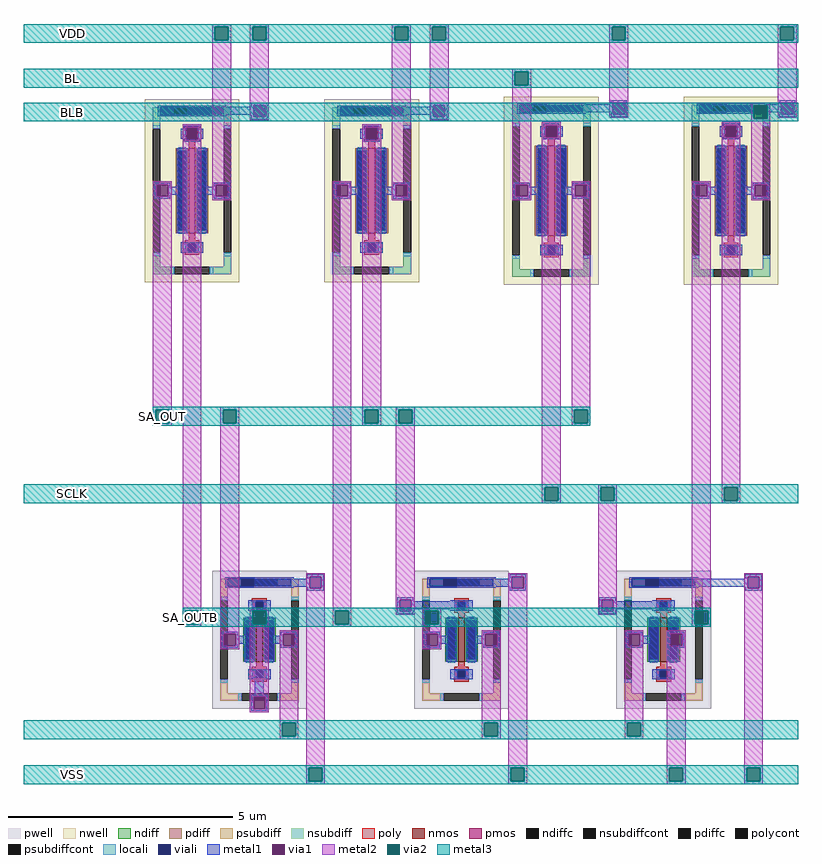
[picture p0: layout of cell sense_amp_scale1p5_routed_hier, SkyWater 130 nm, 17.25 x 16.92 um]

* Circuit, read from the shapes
.subckt sense_amp_scale1p5_routed_hier VDD VSS BL BLB SCLK SA_OUT SA_OUTB
XM1 n1 SA_OUTB SA_OUT VSS sky130_fd_pr__nfet_01v8 w=0.98 l=0.15
XM2 n1 SA_OUT SA_OUTB VSS sky130_fd_pr__nfet_01v8 w=0.98 l=0.15
XM3 VSS SCLK n1 VSS sky130_fd_pr__nfet_01v8 w=0.98 l=0.15
XM4 VDD SA_OUTB SA_OUT VDD sky130_fd_pr__pfet_01v8 w=1.89 l=0.15
XM5 VDD SA_OUT SA_OUTB VDD sky130_fd_pr__pfet_01v8 w=1.89 l=0.15
XM6 SA_OUT SCLK BL VDD sky130_fd_pr__pfet_01v8 w=2 l=0.15
XM7 BLB SCLK SA_OUTB VDD sky130_fd_pr__pfet_01v8 w=2 l=0.15
.ends

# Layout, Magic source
magic
tech sky130A
magscale 1 2
<< metal1 >>
rect 2164 -608 2236 -598
rect 564 -619 636 -609
rect 564 -627 574 -619
rect 280 -663 574 -627
rect 564 -671 574 -663
rect 626 -671 636 -619
rect 1364 -619 1436 -609
rect 2164 -616 2174 -608
rect 1364 -627 1374 -619
rect 1080 -663 1374 -627
rect 564 -681 636 -671
rect 1364 -671 1374 -663
rect 1426 -671 1436 -619
rect 1880 -652 2174 -616
rect 2164 -660 2174 -652
rect 2226 -660 2236 -608
rect 2914 -608 2986 -598
rect 2914 -616 2924 -608
rect 2680 -652 2924 -616
rect 2164 -670 2236 -660
rect 2914 -660 2924 -652
rect 2976 -660 2986 -608
rect 2914 -670 2986 -660
rect 1364 -681 1436 -671
rect 1864 -710 1936 -700
rect 264 -721 336 -711
rect 264 -773 274 -721
rect 326 -773 336 -721
rect 264 -783 336 -773
rect 1064 -721 1136 -711
rect 1064 -773 1074 -721
rect 1126 -773 1136 -721
rect 1864 -762 1874 -710
rect 1926 -762 1936 -710
rect 1864 -772 1936 -762
rect 2664 -710 2736 -700
rect 2664 -762 2674 -710
rect 2726 -762 2736 -710
rect 2664 -772 2736 -762
rect 1064 -783 1136 -773
rect 132 -974 204 -964
rect 132 -1026 142 -974
rect 194 -982 204 -974
rect 233 -982 279 -811
rect 194 -1018 279 -982
rect 194 -1026 204 -1018
rect 132 -1036 204 -1026
rect 233 -1189 279 -1018
rect 321 -982 367 -811
rect 396 -974 468 -964
rect 396 -982 406 -974
rect 321 -1018 406 -982
rect 321 -1189 367 -1018
rect 396 -1026 406 -1018
rect 458 -1026 468 -974
rect 396 -1036 468 -1026
rect 932 -974 1004 -964
rect 932 -1026 942 -974
rect 994 -982 1004 -974
rect 1033 -982 1079 -811
rect 994 -1018 1079 -982
rect 994 -1026 1004 -1018
rect 932 -1036 1004 -1026
rect 1033 -1189 1079 -1018
rect 1121 -982 1167 -811
rect 1196 -974 1268 -964
rect 1196 -982 1206 -974
rect 1121 -1018 1206 -982
rect 1121 -1189 1167 -1018
rect 1196 -1026 1206 -1018
rect 1258 -1026 1268 -974
rect 1196 -1036 1268 -1026
rect 1732 -974 1804 -964
rect 1732 -1026 1742 -974
rect 1794 -982 1804 -974
rect 1833 -982 1879 -800
rect 1794 -1018 1879 -982
rect 1794 -1026 1804 -1018
rect 1732 -1036 1804 -1026
rect 1833 -1200 1879 -1018
rect 1921 -982 1967 -800
rect 1996 -974 2068 -964
rect 1996 -982 2006 -974
rect 1921 -1018 2006 -982
rect 1921 -1200 1967 -1018
rect 1996 -1026 2006 -1018
rect 2058 -1026 2068 -974
rect 1996 -1036 2068 -1026
rect 2532 -974 2604 -964
rect 2532 -1026 2542 -974
rect 2594 -982 2604 -974
rect 2633 -982 2679 -800
rect 2594 -1018 2679 -982
rect 2594 -1026 2604 -1018
rect 2532 -1036 2604 -1026
rect 2633 -1200 2679 -1018
rect 2721 -982 2767 -800
rect 2796 -974 2868 -964
rect 2796 -982 2806 -974
rect 2721 -1018 2806 -982
rect 2721 -1200 2767 -1018
rect 2796 -1026 2806 -1018
rect 2858 -1026 2868 -974
rect 2796 -1036 2868 -1026
rect 814 -2719 886 -2709
rect 814 -2727 824 -2719
rect 580 -2763 824 -2727
rect 814 -2771 824 -2763
rect 876 -2771 886 -2719
rect 1714 -2719 1786 -2709
rect 1714 -2727 1724 -2719
rect 1480 -2763 1724 -2727
rect 814 -2781 886 -2771
rect 1714 -2771 1724 -2763
rect 1776 -2771 1786 -2719
rect 2764 -2719 2836 -2709
rect 2764 -2727 2774 -2719
rect 2380 -2763 2774 -2727
rect 1714 -2781 1786 -2771
rect 2764 -2771 2774 -2763
rect 2826 -2771 2836 -2719
rect 2764 -2781 2836 -2771
rect 1214 -2821 1286 -2811
rect 1214 -2873 1224 -2821
rect 1276 -2829 1286 -2821
rect 2114 -2821 2186 -2811
rect 1276 -2865 1520 -2829
rect 1276 -2873 1286 -2865
rect 1214 -2883 1286 -2873
rect 2114 -2873 2124 -2821
rect 2176 -2829 2186 -2821
rect 2176 -2865 2420 -2829
rect 2176 -2873 2186 -2865
rect 2114 -2883 2186 -2873
rect 432 -2974 504 -2964
rect 432 -3026 442 -2974
rect 494 -2982 504 -2974
rect 533 -2982 579 -2902
rect 494 -3018 579 -2982
rect 494 -3026 504 -3018
rect 432 -3036 504 -3026
rect 533 -3098 579 -3018
rect 621 -2982 667 -2902
rect 696 -2974 768 -2964
rect 696 -2982 706 -2974
rect 621 -3018 706 -2982
rect 621 -3098 667 -3018
rect 696 -3026 706 -3018
rect 758 -3026 768 -2974
rect 696 -3036 768 -3026
rect 1332 -2974 1404 -2964
rect 1332 -3026 1342 -2974
rect 1394 -2982 1404 -2974
rect 1433 -2982 1479 -2902
rect 1394 -3018 1479 -2982
rect 1394 -3026 1404 -3018
rect 1332 -3036 1404 -3026
rect 1433 -3098 1479 -3018
rect 1521 -2982 1567 -2902
rect 1596 -2974 1668 -2964
rect 1596 -2982 1606 -2974
rect 1521 -3018 1606 -2982
rect 1521 -3098 1567 -3018
rect 1596 -3026 1606 -3018
rect 1658 -3026 1668 -2974
rect 1596 -3036 1668 -3026
rect 2232 -2974 2304 -2964
rect 2232 -3026 2242 -2974
rect 2294 -2982 2304 -2974
rect 2333 -2982 2379 -2902
rect 2421 -2964 2467 -2902
rect 2294 -3018 2379 -2982
rect 2294 -3026 2304 -3018
rect 2232 -3036 2304 -3026
rect 2333 -3098 2379 -3018
rect 2420 -2974 2492 -2964
rect 2420 -3026 2430 -2974
rect 2482 -3026 2492 -2974
rect 2420 -3036 2492 -3026
rect 2421 -3098 2467 -3036
rect 580 -3244 620 -3135
rect 564 -3254 636 -3244
rect 564 -3306 574 -3254
rect 626 -3306 636 -3254
rect 564 -3316 636 -3306
<< via1 >>
rect 574 -671 626 -619
rect 1374 -671 1426 -619
rect 2174 -660 2226 -608
rect 2924 -660 2976 -608
rect 274 -773 326 -721
rect 1074 -773 1126 -721
rect 1874 -762 1926 -710
rect 2674 -762 2726 -710
rect 142 -1026 194 -974
rect 406 -1026 458 -974
rect 942 -1026 994 -974
rect 1206 -1026 1258 -974
rect 1742 -1026 1794 -974
rect 2006 -1026 2058 -974
rect 2542 -1026 2594 -974
rect 2806 -1026 2858 -974
rect 824 -2771 876 -2719
rect 1724 -2771 1776 -2719
rect 2774 -2771 2826 -2719
rect 1224 -2873 1276 -2821
rect 2124 -2873 2176 -2821
rect 442 -3026 494 -2974
rect 706 -3026 758 -2974
rect 1342 -3026 1394 -2974
rect 1606 -3026 1658 -2974
rect 2242 -3026 2294 -2974
rect 2430 -3026 2482 -2974
rect 574 -3306 626 -3254
<< metal2 >>
rect 390 -270 474 -258
rect 390 -330 402 -270
rect 462 -330 474 -270
rect 258 -721 342 -705
rect 258 -773 274 -721
rect 326 -773 342 -721
rect 126 -974 210 -958
rect 126 -1026 142 -974
rect 194 -1026 210 -974
rect 126 -1975 210 -1026
rect 126 -2035 138 -1975
rect 198 -2035 210 -1975
rect 126 -2047 210 -2035
rect 258 -2870 342 -773
rect 390 -974 474 -330
rect 558 -270 642 -258
rect 558 -330 570 -270
rect 630 -330 642 -270
rect 558 -619 642 -330
rect 558 -671 574 -619
rect 626 -671 642 -619
rect 558 -687 642 -671
rect 1190 -270 1274 -258
rect 1190 -330 1202 -270
rect 1262 -330 1274 -270
rect 1058 -721 1142 -705
rect 1058 -773 1074 -721
rect 1126 -773 1142 -721
rect 390 -1026 406 -974
rect 458 -1026 474 -974
rect 390 -1042 474 -1026
rect 926 -974 1010 -958
rect 926 -1026 942 -974
rect 994 -1026 1010 -974
rect 258 -2930 270 -2870
rect 330 -2930 342 -2870
rect 258 -2942 342 -2930
rect 426 -1975 510 -1963
rect 426 -2035 438 -1975
rect 498 -2035 510 -1975
rect 426 -2974 510 -2035
rect 808 -2719 892 -2703
rect 808 -2771 824 -2719
rect 876 -2771 892 -2719
rect 426 -3026 442 -2974
rect 494 -3026 510 -2974
rect 426 -3042 510 -3026
rect 558 -2870 642 -2858
rect 558 -2930 570 -2870
rect 630 -2930 642 -2870
rect 558 -3254 642 -2930
rect 558 -3306 574 -3254
rect 626 -3306 642 -3254
rect 558 -3322 642 -3306
rect 690 -2974 774 -2958
rect 690 -3026 706 -2974
rect 758 -3026 774 -2974
rect 690 -3370 774 -3026
rect 690 -3430 702 -3370
rect 762 -3430 774 -3370
rect 690 -3442 774 -3430
rect 808 -3570 892 -2771
rect 926 -2870 1010 -1026
rect 1058 -1975 1142 -773
rect 1190 -974 1274 -330
rect 1358 -270 1442 -258
rect 1358 -330 1370 -270
rect 1430 -330 1442 -270
rect 1358 -619 1442 -330
rect 2158 -270 2242 -258
rect 2158 -330 2170 -270
rect 2230 -330 2242 -270
rect 1358 -671 1374 -619
rect 1426 -671 1442 -619
rect 1358 -687 1442 -671
rect 1726 -470 1810 -458
rect 1726 -530 1738 -470
rect 1798 -530 1810 -470
rect 1190 -1026 1206 -974
rect 1258 -1026 1274 -974
rect 1190 -1042 1274 -1026
rect 1726 -974 1810 -530
rect 2158 -608 2242 -330
rect 2908 -270 2992 -258
rect 2908 -330 2920 -270
rect 2980 -330 2992 -270
rect 2908 -608 2992 -330
rect 2158 -660 2174 -608
rect 2226 -660 2242 -608
rect 2158 -676 2242 -660
rect 2790 -620 2874 -608
rect 2790 -680 2802 -620
rect 2862 -680 2874 -620
rect 2908 -660 2924 -608
rect 2976 -660 2992 -608
rect 2908 -676 2992 -660
rect 1726 -1026 1742 -974
rect 1794 -1026 1810 -974
rect 1726 -1042 1810 -1026
rect 1858 -710 1942 -694
rect 1858 -762 1874 -710
rect 1926 -762 1942 -710
rect 1058 -2035 1070 -1975
rect 1130 -2035 1142 -1975
rect 1058 -2047 1142 -2035
rect 1208 -1975 1292 -1963
rect 1208 -2035 1220 -1975
rect 1280 -2035 1292 -1975
rect 926 -2930 938 -2870
rect 998 -2930 1010 -2870
rect 1208 -2821 1292 -2035
rect 1858 -2320 1942 -762
rect 2658 -710 2742 -694
rect 2658 -762 2674 -710
rect 2726 -762 2742 -710
rect 1990 -974 2074 -958
rect 1990 -1026 2006 -974
rect 2058 -1026 2074 -974
rect 1990 -1975 2074 -1026
rect 1990 -2035 2002 -1975
rect 2062 -2035 2074 -1975
rect 1990 -2047 2074 -2035
rect 2526 -974 2610 -958
rect 2526 -1026 2542 -974
rect 2594 -1026 2610 -974
rect 1858 -2380 1870 -2320
rect 1930 -2380 1942 -2320
rect 1858 -2392 1942 -2380
rect 2108 -2320 2192 -2308
rect 2108 -2380 2120 -2320
rect 2180 -2380 2192 -2320
rect 1208 -2873 1224 -2821
rect 1276 -2873 1292 -2821
rect 1708 -2719 1792 -2703
rect 1708 -2771 1724 -2719
rect 1776 -2771 1792 -2719
rect 1208 -2889 1292 -2873
rect 1326 -2870 1410 -2858
rect 926 -2942 1010 -2930
rect 1326 -2930 1338 -2870
rect 1398 -2930 1410 -2870
rect 1326 -2974 1410 -2930
rect 1326 -3026 1342 -2974
rect 1394 -3026 1410 -2974
rect 1326 -3042 1410 -3026
rect 1590 -2974 1674 -2958
rect 1590 -3026 1606 -2974
rect 1658 -3026 1674 -2974
rect 1590 -3370 1674 -3026
rect 1590 -3430 1602 -3370
rect 1662 -3430 1674 -3370
rect 1590 -3442 1674 -3430
rect 808 -3630 820 -3570
rect 880 -3630 892 -3570
rect 808 -3642 892 -3630
rect 1708 -3570 1792 -2771
rect 2108 -2821 2192 -2380
rect 2108 -2873 2124 -2821
rect 2176 -2873 2192 -2821
rect 2108 -2889 2192 -2873
rect 2526 -2870 2610 -1026
rect 2658 -2320 2742 -762
rect 2790 -974 2874 -680
rect 2790 -1026 2806 -974
rect 2858 -1026 2874 -974
rect 2790 -1042 2874 -1026
rect 2658 -2380 2670 -2320
rect 2730 -2380 2742 -2320
rect 2658 -2392 2742 -2380
rect 2526 -2930 2538 -2870
rect 2598 -2930 2610 -2870
rect 2526 -2942 2610 -2930
rect 2758 -2719 2842 -2703
rect 2758 -2771 2774 -2719
rect 2826 -2771 2842 -2719
rect 2226 -2974 2310 -2958
rect 2226 -3026 2242 -2974
rect 2294 -3026 2310 -2974
rect 2226 -3370 2310 -3026
rect 2226 -3430 2238 -3370
rect 2298 -3430 2310 -3370
rect 2226 -3442 2310 -3430
rect 2414 -2974 2498 -2958
rect 2414 -3026 2430 -2974
rect 2482 -3026 2498 -2974
rect 1708 -3630 1720 -3570
rect 1780 -3630 1792 -3570
rect 1708 -3642 1792 -3630
rect 2414 -3570 2498 -3026
rect 2414 -3630 2426 -3570
rect 2486 -3630 2498 -3570
rect 2414 -3642 2498 -3630
rect 2758 -3570 2842 -2771
rect 2758 -3630 2770 -3570
rect 2830 -3630 2842 -3570
rect 2758 -3642 2842 -3630
<< via2 >>
rect 402 -330 462 -270
rect 138 -2035 198 -1975
rect 570 -330 630 -270
rect 1202 -330 1262 -270
rect 270 -2930 330 -2870
rect 438 -2035 498 -1975
rect 570 -2930 630 -2870
rect 702 -3430 762 -3370
rect 1370 -330 1430 -270
rect 2170 -330 2230 -270
rect 1738 -530 1798 -470
rect 2920 -330 2980 -270
rect 2802 -680 2862 -620
rect 1070 -2035 1130 -1975
rect 1220 -2035 1280 -1975
rect 938 -2930 998 -2870
rect 2002 -2035 2062 -1975
rect 1870 -2380 1930 -2320
rect 2120 -2380 2180 -2320
rect 1338 -2930 1398 -2870
rect 1602 -3430 1662 -3370
rect 820 -3630 880 -3570
rect 2670 -2380 2730 -2320
rect 2538 -2930 2598 -2870
rect 2238 -3430 2298 -3370
rect 1720 -3630 1780 -3570
rect 2426 -3630 2486 -3570
rect 2770 -3630 2830 -3570
<< metal3 >>
rect -450 -270 3000 -258
rect -450 -330 402 -270
rect 462 -330 570 -270
rect 630 -330 1202 -270
rect 1262 -330 1370 -270
rect 1430 -330 2170 -270
rect 2230 -330 2920 -270
rect 2980 -330 3000 -270
rect -450 -342 3000 -330
rect -450 -470 3000 -458
rect -450 -530 1738 -470
rect 1798 -530 3000 -470
rect -450 -542 3000 -530
rect -450 -620 3000 -608
rect -450 -680 2802 -620
rect 2862 -680 3000 -620
rect -450 -692 3000 -680
rect 126 -1975 2074 -1963
rect 126 -2035 138 -1975
rect 198 -2035 438 -1975
rect 498 -2035 1070 -1975
rect 1130 -2035 1220 -1975
rect 1280 -2035 2002 -1975
rect 2062 -2035 2074 -1975
rect 126 -2047 2074 -2035
rect -450 -2320 3000 -2308
rect -450 -2380 1870 -2320
rect 1930 -2380 2120 -2320
rect 2180 -2380 2670 -2320
rect 2730 -2380 3000 -2320
rect -450 -2392 3000 -2380
rect 258 -2870 2610 -2858
rect 258 -2930 270 -2870
rect 330 -2930 570 -2870
rect 630 -2930 938 -2870
rect 998 -2930 1338 -2870
rect 1398 -2930 2538 -2870
rect 2598 -2930 2610 -2870
rect 258 -2942 2610 -2930
rect -450 -3370 3000 -3358
rect -450 -3430 702 -3370
rect 762 -3430 1602 -3370
rect 1662 -3430 2238 -3370
rect 2298 -3430 3000 -3370
rect -450 -3442 3000 -3430
rect -450 -3570 3000 -3558
rect -450 -3630 820 -3570
rect 880 -3630 1720 -3570
rect 1780 -3630 2426 -3570
rect 2486 -3630 2770 -3570
rect 2830 -3630 3000 -3570
rect -450 -3642 3000 -3630
use sky130_fd_pr__nfet_01v8_MCBHB7  XMN1
transform 1 0 600 0 1 -3000
box -211 -308 211 308
use sky130_fd_pr__nfet_01v8_MCBHB7  XMN2
transform 1 0 1500 0 1 -3000
box -211 -308 211 308
use sky130_fd_pr__pfet_01v8_FT7YZL  XMP1
transform 1 0 300 0 1 -1000
box -211 -408 211 408
use sky130_fd_pr__pfet_01v8_FT7YZL  XMP2
transform 1 0 1100 0 1 -1000
box -211 -408 211 408
use sky130_fd_pr__pfet_01v8_G3SWYS  XMSAMPBL
transform 1 0 1900 0 1 -1000
box -211 -419 211 419
use sky130_fd_pr__pfet_01v8_G3SWYS  XMSAMPBLB
transform 1 0 2700 0 1 -1000
box -211 -419 211 419
use sky130_fd_pr__nfet_01v8_MCBHB7  XMTAIL
transform 1 0 2400 0 1 -3000
box -211 -308 211 308
<< labels >>
rlabel metal3 -255 -325 -205 -275 0 VDD
port 0 n
rlabel metal3 -255 -3625 -205 -3575 0 VSS
port 1 n
rlabel metal3 -255 -525 -205 -475 0 BL
port 2 n
rlabel metal3 -255 -675 -205 -625 0 BLB
port 3 n
rlabel metal3 -255 -2375 -205 -2325 0 SCLK
port 4 n
rlabel metal3 145 -2030 195 -1980 0 SA_OUT
port 5 n
rlabel metal3 270 -2925 320 -2875 0 SA_OUTB
port 6 n
<< end >>

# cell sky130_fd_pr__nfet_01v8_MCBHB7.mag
magic
tech sky130A
magscale 1 2
<< pwell >>
rect -211 -308 211 308
<< nmos >>
rect -15 -98 15 98
<< ndiff >>
rect -73 86 -15 98
rect -73 -86 -61 86
rect -27 -86 -15 86
rect -73 -98 -15 -86
rect 15 86 73 98
rect 15 -86 27 86
rect 61 -86 73 86
rect 15 -98 73 -86
<< ndiffc >>
rect -61 -86 -27 86
rect 27 -86 61 86
<< psubdiff >>
rect -175 238 -79 272
rect 79 238 175 272
rect -175 176 -141 238
rect 141 176 175 238
rect -175 -238 -141 -176
rect 141 -238 175 -176
rect -175 -272 -79 -238
rect 79 -272 175 -238
<< psubdiffcont >>
rect -79 238 79 272
rect -175 -176 -141 176
rect 141 -176 175 176
rect -79 -272 79 -238
<< poly >>
rect -33 170 33 186
rect -33 136 -17 170
rect 17 136 33 170
rect -33 120 33 136
rect -15 98 15 120
rect -15 -120 15 -98
rect -33 -136 33 -120
rect -33 -170 -17 -136
rect 17 -170 33 -136
rect -33 -186 33 -170
<< polycont >>
rect -17 136 17 170
rect -17 -170 17 -136
<< locali >>
rect -175 176 -141 192
rect 141 176 175 192
rect -33 136 -17 170
rect 17 136 33 170
rect -61 86 -27 102
rect -61 -102 -27 -86
rect 27 86 61 102
rect 27 -102 61 -86
rect -33 -170 -17 -136
rect 17 -170 33 -136
rect -175 -192 -141 -176
rect 141 -192 175 -176
rect -95 -272 -79 -238
rect 79 -272 95 -238
<< viali >>
rect -141 238 -79 272
rect -79 238 79 272
rect 79 238 141 272
rect -17 136 17 170
rect -61 -86 -27 86
rect 27 -86 61 86
rect -17 -170 17 -136
<< metal1 >>
rect -153 272 153 278
rect -153 238 -141 272
rect 141 238 153 272
rect -153 232 153 238
rect -50 170 50 176
rect -50 136 -17 170
rect 17 136 50 170
rect -50 130 50 136
rect -67 86 -21 98
rect -67 -86 -61 86
rect -27 -86 -21 86
rect -67 -98 -21 -86
rect 21 86 67 98
rect 21 -86 27 86
rect 61 -86 67 86
rect 21 -98 67 -86
rect -50 -136 50 -130
rect -50 -170 -17 -136
rect 17 -170 50 -136
rect -50 -176 50 -170
<< properties >>
string FIXED_BBOX -158 -255 158 255
string library sky130
string parameters w 0.975 l 0.15 m 1 nf 1 diffcov 100 polycov 100 guard 1 glc 1 grc 1 gtc 1 gbc 1 tbcov 100 rlcov 100 topc 1 botc 1 poverlap 0 doverlap 1 lmin 0.15 wmin 0.42 class mosfet compatible {sky130_fd_pr__nfet_01v8 sky130_fd_pr__nfet_01v8_lvt  sky130_fd_bs_flash__special_sonosfet_star  sky130_fd_pr__nfet_g5v0d10v5 sky130_fd_pr__nfet_05v0_nvt  sky130_fd_pr__nfet_03v3_nvt} full_metal 0 viasrc 100 viadrn 100 viagate 100 viagb 0 viagr 0 viagl 0 viagt 100
<< end >>

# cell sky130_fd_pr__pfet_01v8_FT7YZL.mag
magic
tech sky130A
magscale 1 2
<< nwell >>
rect -211 -408 211 408
<< pmos >>
rect -15 -189 15 189
<< pdiff >>
rect -73 177 -15 189
rect -73 -177 -61 177
rect -27 -177 -15 177
rect -73 -189 -15 -177
rect 15 177 73 189
rect 15 -177 27 177
rect 61 -177 73 177
rect 15 -189 73 -177
<< pdiffc >>
rect -61 -177 -27 177
rect 27 -177 61 177
<< nsubdiff >>
rect -175 338 -79 372
rect 79 338 175 372
rect -175 276 -141 338
rect 141 276 175 338
rect -175 -338 -141 -276
rect 141 -338 175 -276
rect -175 -372 -79 -338
rect 79 -372 175 -338
<< nsubdiffcont >>
rect -79 338 79 372
rect -175 -276 -141 276
rect 141 -276 175 276
rect -79 -372 79 -338
<< poly >>
rect -33 270 33 286
rect -33 236 -17 270
rect 17 236 33 270
rect -33 220 33 236
rect -15 189 15 220
rect -15 -220 15 -189
rect -33 -236 33 -220
rect -33 -270 -17 -236
rect 17 -270 33 -236
rect -33 -286 33 -270
<< polycont >>
rect -17 236 17 270
rect -17 -270 17 -236
<< locali >>
rect -175 276 -141 292
rect 141 276 175 292
rect -33 236 -17 270
rect 17 236 33 270
rect -61 177 -27 193
rect -61 -193 -27 -177
rect 27 177 61 193
rect 27 -193 61 -177
rect -33 -270 -17 -236
rect 17 -270 33 -236
rect -175 -292 -141 -276
rect 141 -292 175 -276
rect -95 -372 -79 -338
rect 79 -372 95 -338
<< viali >>
rect -141 338 -79 372
rect -79 338 79 372
rect 79 338 141 372
rect -17 236 17 270
rect -61 -177 -27 177
rect 27 -177 61 177
rect -17 -270 17 -236
<< metal1 >>
rect -153 372 153 378
rect -153 338 -141 372
rect 141 338 153 372
rect -153 332 153 338
rect -50 270 50 276
rect -50 236 -17 270
rect 17 236 50 270
rect -50 230 50 236
rect -67 177 -21 189
rect -67 -177 -61 177
rect -27 -177 -21 177
rect -67 -189 -21 -177
rect 21 177 67 189
rect 21 -177 27 177
rect 61 -177 67 177
rect 21 -189 67 -177
rect -50 -236 50 -230
rect -50 -270 -17 -236
rect 17 -270 50 -236
rect -50 -276 50 -270
<< properties >>
string FIXED_BBOX -158 -355 158 355
string library sky130
string parameters w 1.89 l 0.15 m 1 nf 1 diffcov 100 polycov 100 guard 1 glc 1 grc 1 gtc 1 gbc 1 tbcov 100 rlcov 100 topc 1 botc 1 poverlap 0 doverlap 1 lmin 0.15 wmin 0.42 class mosfet compatible {sky130_fd_pr__pfet_01v8  sky130_fd_pr__pfet_01v8_lvt sky130_fd_pr__pfet_01v8_hvt  sky130_fd_pr__pfet_g5v0d10v5} full_metal 0 viasrc 100 viadrn 100 viagate 100 viagb 0 viagr 0 viagl 0 viagt 100
<< end >>

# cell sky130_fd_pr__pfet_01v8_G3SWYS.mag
magic
tech sky130A
magscale 1 2
<< nwell >>
rect -211 -419 211 419
<< pmos >>
rect -15 -200 15 200
<< pdiff >>
rect -73 188 -15 200
rect -73 -188 -61 188
rect -27 -188 -15 188
rect -73 -200 -15 -188
rect 15 188 73 200
rect 15 -188 27 188
rect 61 -188 73 188
rect 15 -200 73 -188
<< pdiffc >>
rect -61 -188 -27 188
rect 27 -188 61 188
<< nsubdiff >>
rect -175 349 -79 383
rect 79 349 175 383
rect -175 287 -141 349
rect 141 287 175 349
rect -175 -349 -141 -287
rect 141 -349 175 -287
rect -175 -383 -79 -349
rect 79 -383 175 -349
<< nsubdiffcont >>
rect -79 349 79 383
rect -175 -287 -141 287
rect 141 -287 175 287
rect -79 -383 79 -349
<< poly >>
rect -33 281 33 297
rect -33 247 -17 281
rect 17 247 33 281
rect -33 231 33 247
rect -15 200 15 231
rect -15 -231 15 -200
rect -33 -247 33 -231
rect -33 -281 -17 -247
rect 17 -281 33 -247
rect -33 -297 33 -281
<< polycont >>
rect -17 247 17 281
rect -17 -281 17 -247
<< locali >>
rect -175 287 -141 303
rect 141 287 175 303
rect -33 247 -17 281
rect 17 247 33 281
rect -61 188 -27 204
rect -61 -204 -27 -188
rect 27 188 61 204
rect 27 -204 61 -188
rect -33 -281 -17 -247
rect 17 -281 33 -247
rect -175 -303 -141 -287
rect 141 -303 175 -287
rect -95 -383 -79 -349
rect 79 -383 95 -349
<< viali >>
rect -141 349 -79 383
rect -79 349 79 383
rect 79 349 141 383
rect -17 247 17 281
rect -61 -188 -27 188
rect 27 -188 61 188
rect -17 -281 17 -247
<< metal1 >>
rect -153 383 153 389
rect -153 349 -141 383
rect 141 349 153 383
rect -153 343 153 349
rect -50 281 50 287
rect -50 247 -17 281
rect 17 247 50 281
rect -50 241 50 247
rect -67 188 -21 200
rect -67 -188 -61 188
rect -27 -188 -21 188
rect -67 -200 -21 -188
rect 21 188 67 200
rect 21 -188 27 188
rect 61 -188 67 188
rect 21 -200 67 -188
rect -50 -247 50 -241
rect -50 -281 -17 -247
rect 17 -281 50 -247
rect -50 -287 50 -281
<< properties >>
string FIXED_BBOX -158 -366 158 366
string library sky130
string parameters w 2.0 l 0.15 m 1 nf 1 diffcov 100 polycov 100 guard 1 glc 1 grc 1 gtc 1 gbc 1 tbcov 100 rlcov 100 topc 1 botc 1 poverlap 0 doverlap 1 lmin 0.15 wmin 0.42 class mosfet compatible {sky130_fd_pr__pfet_01v8  sky130_fd_pr__pfet_01v8_lvt sky130_fd_pr__pfet_01v8_hvt  sky130_fd_pr__pfet_g5v0d10v5} full_metal 0 viasrc 100 viadrn 100 viagate 100 viagb 0 viagr 0 viagl 0 viagt 100
<< end >>
